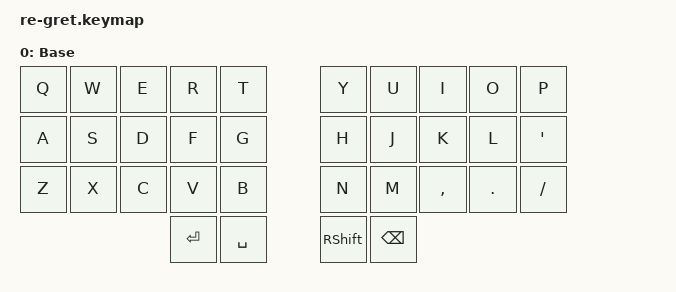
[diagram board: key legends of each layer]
#include <behaviors.dtsi>
#include <dt-bindings/zmk/keys.h>

/ {

    keymap {
        compatible = "zmk,keymap";

        default_layer {
            display-name = "Base";
// -----------------------------------------------------------------------------------------
// |  Q  |  W  |  E  |  R  |  T  |   |  Y  |  U   |  I  |  O  |  P  | BSPC |
// |  A  |  S  |  D  |  F  |  G  |   |  H  |  J   |  K  |  L  |  ;  |  '   |
// |  Z  |  X  |  C  |  V  |  B  |   |  N  |  M   |  ,  |  .  |  /  | ESC  |
//                   | RET | SPC |   | RSH | BSP  | 
            bindings = <
    &kp Q  &kp W  &kp E  &kp R  &kp T  &kp Y	&kp U  &kp I  &kp O  &kp P
    &kp A  &kp S  &kp D  &kp F  &kp G  &kp H  	&kp J  &kp K  &kp L  &kp SQT
    &kp Z  &kp X  &kp C  &kp V  &kp B  &kp N  	&kp M  &kp COMMA  &kp DOT &kp FSLH
		           &kp RET &kp SPACE  	&kp RSHIFT  &kp BSPC
            >;
        };
    };
};
